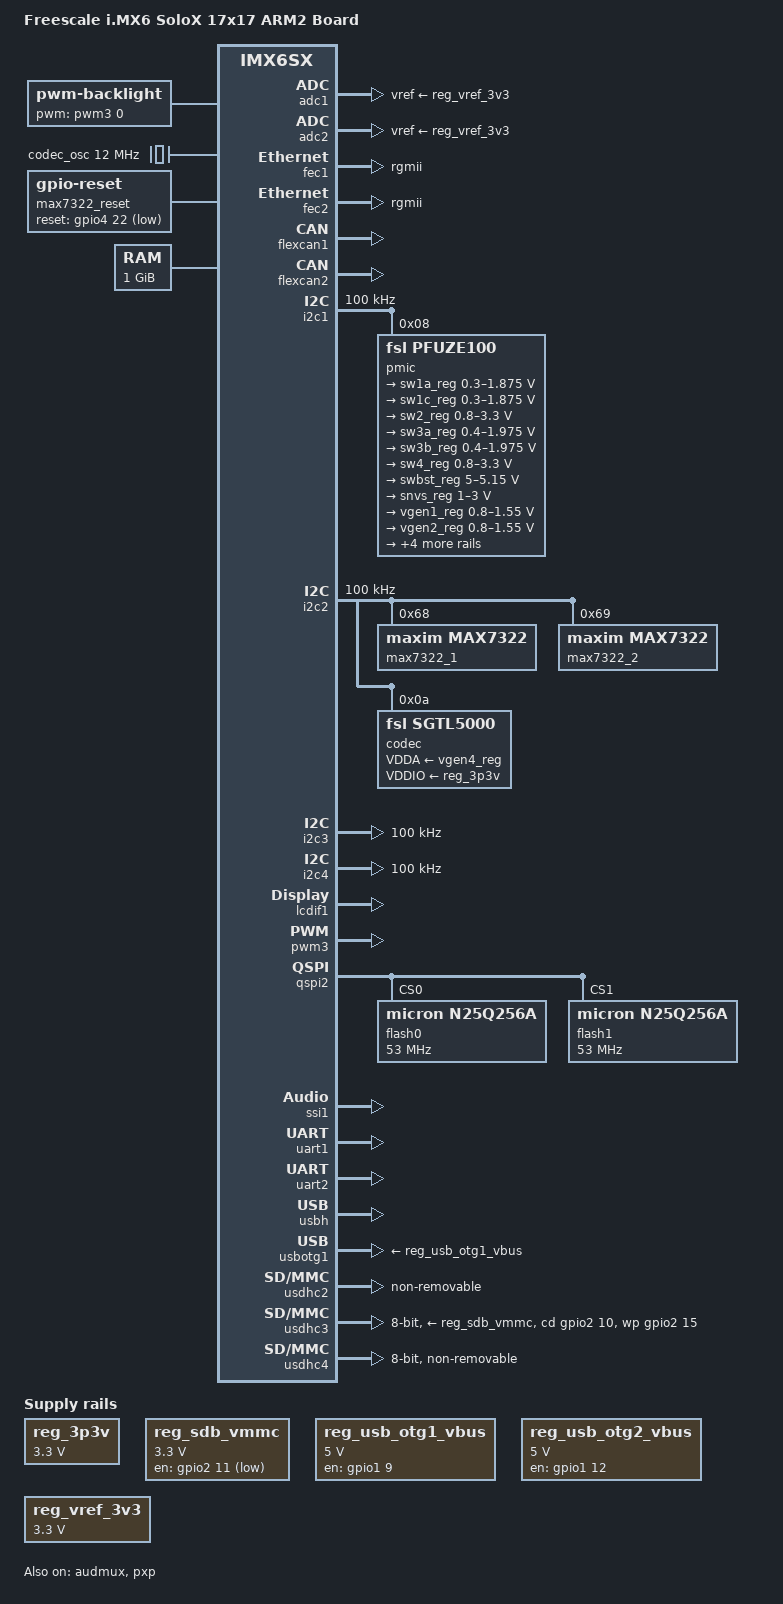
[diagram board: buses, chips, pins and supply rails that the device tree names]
/*
 * Copyright (C) 2014 Freescale Semiconductor, Inc.
 *
 * This program is free software; you can redistribute it and/or modify
 * it under the terms of the GNU General Public License version 2 as
 * published by the Free Software Foundation.
 */

/dts-v1/;

#include "imx6sx.dtsi"

/ {
	model = "Freescale i.MX6 SoloX 17x17 ARM2 Board";
	compatible = "fsl,imx6sx-17x17-arm2", "fsl,imx6sx";

	backlight {
		compatible = "pwm-backlight";
		pwms = <&pwm3 0 5000000>;
		brightness-levels = <0 4 8 16 32 64 128 255>;
		default-brightness-level = <6>;
	};

	clocks {
	        codec_osc: codec_osc {
		        #clock-cells = <0>;
		        compatible = "fixed-clock";
		        clock-frequency = <12000000>;
		};
	};

	max7322_reset: max7322-reset {
		compatible = "gpio-reset";
		reset-gpios = <&gpio4 22 GPIO_ACTIVE_LOW>;
		reset-delay-us = <1>;
		#reset-cells = <0>;
	};

	pxp_v4l2_out {
		compatible = "fsl,imx6sx-pxp-v4l2", "fsl,imx6sl-pxp-v4l2";
		status = "okay";
	};

	regulators {
		compatible = "simple-bus";

		reg_3p3v: 3p3v {
			compatible = "regulator-fixed";
			regulator-name = "3P3V";
			regulator-min-microvolt = <3300000>;
			regulator-max-microvolt = <3300000>;
			regulator-always-on;
		};

		reg_sdb_vmmc: sdb_vmmc{
			compatible = "regulator-fixed";
			regulator-name = "SD2_SPWR";
			regulator-min-microvolt = <3300000>;
			regulator-max-microvolt = <3300000>;
			gpio = <&gpio2 11 GPIO_ACTIVE_LOW>;
		};

		reg_usb_otg1_vbus: usb_otg1_vbus {
			compatible = "regulator-fixed";
			regulator-name = "usb_otg1_vbus";
			regulator-min-microvolt = <5000000>;
			regulator-max-microvolt = <5000000>;
			gpio = <&gpio1 9 0>;
			enable-active-high;
		};

		reg_usb_otg2_vbus: usb_otg2_vbus {
			compatible = "regulator-fixed";
			regulator-name = "usb_otg2_vbus";
			regulator-min-microvolt = <5000000>;
			regulator-max-microvolt = <5000000>;
			gpio = <&gpio1 12 0>;
			enable-active-high;
		};

		reg_vref_3v3: regulator@0 {
			compatible = "regulator-fixed";
			regulator-name = "vref-3v3";
			regulator-min-microvolt = <3300000>;
			regulator-max-microvolt = <3300000>;
		};
	};

	memory {
		reg = <0x80000000 0x40000000>;
	};

	sound {
		compatible = "fsl,imx6sx-arm2-sgtl5000",
			   "fsl,imx-audio-sgtl5000";
		model = "imx6sx-arm2-sgtl5000";
		cpu-dai = <&ssi1>;
		audio-codec = <&codec>;
		audio-routing =
			"LINE_IN", "Line In Jack",
			"Headphone Jack", "HP_OUT";
		mux-int-port = <1>;
		mux-ext-port = <4>;
	};
};

&adc1 {
	vref-supply = <&reg_vref_3v3>;
	status = "okay";
};

&adc2 {
	vref-supply = <&reg_vref_3v3>;
	status = "okay";
};

&audmux {
       pinctrl-names = "default";
       pinctrl-0 = <&pinctrl_audmux_2>;
       status = "okay";
};

&ecspi4 {
	fsl,spi-num-chipselects = <1>;
	cs-gpios = <&gpio7 4 0>;
	pinctrl-names = "default";
	pinctrl-0 = <&pinctrl_ecspi4_1 &pinctrl_ecspi4_cs_1>;
	status = "disabled"; /* pin conflict with USDHC3 */

	flash: m25p80@0 {
		#address-cells = <1>;
		#size-cells = <1>;
		compatible = "st,m25p32";
		spi-max-frequency = <20000000>;
		reg = <0>;
	};
};

&fec1 {
	pinctrl-names = "default";
	pinctrl-0 = <&pinctrl_enet1_1>;
	phy-mode = "rgmii";
	phy-id = <1>;
	fsl,num_tx_queues=<3>;
	fsl,num_rx_queues=<3>;
	pinctrl-assert-gpios = <&max7322_1 0 GPIO_ACTIVE_HIGH>;
	status = "okay";
};

&fec2 {
	pinctrl-names = "default";
	pinctrl-0 = <&pinctrl_enet2_1>;
	phy-mode = "rgmii";
	phy-id = <0>;
	fsl,num_tx_queues=<3>;
	fsl,num_rx_queues=<3>;
	pinctrl-assert-gpios = <&max7322_2 0 GPIO_ACTIVE_HIGH>;
	status = "okay";
};

&flexcan1 {
	pinctrl-names = "default";
	pinctrl-0 = <&pinctrl_flexcan1_1>;
	trx-en-gpio = <&gpio4 25 GPIO_ACTIVE_HIGH>;
	trx-stby-gpio = <&gpio4 27 GPIO_ACTIVE_HIGH>;
	trx-err-gpio = <&gpio4 24 GPIO_ACTIVE_HIGH>;
	status = "okay";
};

&flexcan2 {
	pinctrl-names = "default";
	pinctrl-0 = <&pinctrl_flexcan2_1>;
	trx-en-gpio = <&gpio4 25 GPIO_ACTIVE_HIGH>;
	trx-stby-gpio = <&gpio4 27 GPIO_ACTIVE_HIGH>;
	trx-err-gpio = <&gpio4 30 GPIO_ACTIVE_HIGH>;
	status = "okay";
};

&gpc {
	fsl,cpu_pupscr_sw2iso = <0xf>;
	fsl,cpu_pupscr_sw = <0xf>;
	fsl,cpu_pdnscr_iso2sw = <0x1>;
	fsl,cpu_pdnscr_iso = <0x1>;
	fsl,wdog-reset = <1>; /* watchdog select of reset source */
};

&gpmi {
	pinctrl-names = "default";
	pinctrl-0 = <&pinctrl_gpmi_nand_1>;
	status = "disabled"; /* pin conflict with qspi*/
};

&i2c1 {
        clock-frequency = <100000>;
        pinctrl-names = "default";
        pinctrl-0 = <&pinctrl_i2c1_1>;
        status = "okay";

	pmic: pfuze100@08 {
		compatible = "fsl,pfuze100";
		reg = <0x08>;

		regulators {
			sw1a_reg: sw1ab {
				regulator-min-microvolt = <300000>;
				regulator-max-microvolt = <1875000>;
				regulator-boot-on;
				regulator-always-on;
				regulator-ramp-delay = <6250>;
			};

			sw1c_reg: sw1c {
				regulator-min-microvolt = <300000>;
				regulator-max-microvolt = <1875000>;
				regulator-boot-on;
				regulator-always-on;
				regulator-ramp-delay = <6250>;
			};

			sw2_reg: sw2 {
				regulator-min-microvolt = <800000>;
				regulator-max-microvolt = <3300000>;
				regulator-boot-on;
				regulator-always-on;
			};

			sw3a_reg: sw3a {
				regulator-min-microvolt = <400000>;
				regulator-max-microvolt = <1975000>;
				regulator-boot-on;
				regulator-always-on;
			};

			sw3b_reg: sw3b {
				regulator-min-microvolt = <400000>;
				regulator-max-microvolt = <1975000>;
				regulator-boot-on;
				regulator-always-on;
			};

			sw4_reg: sw4 {
				regulator-min-microvolt = <800000>;
				regulator-max-microvolt = <3300000>;
			};

			swbst_reg: swbst {
				regulator-min-microvolt = <5000000>;
				regulator-max-microvolt = <5150000>;
			};

			snvs_reg: vsnvs {
				regulator-min-microvolt = <1000000>;
				regulator-max-microvolt = <3000000>;
				regulator-boot-on;
				regulator-always-on;
			};

			vref_reg: vrefddr {
				regulator-boot-on;
				regulator-always-on;
			};

			vgen1_reg: vgen1 {
				regulator-min-microvolt = <800000>;
				regulator-max-microvolt = <1550000>;
			};

			vgen2_reg: vgen2 {
				regulator-min-microvolt = <800000>;
				regulator-max-microvolt = <1550000>;
			};

			vgen3_reg: vgen3 {
				regulator-min-microvolt = <1800000>;
				regulator-max-microvolt = <3300000>;
				regulator-always-on;
			};

			vgen4_reg: vgen4 {
				regulator-min-microvolt = <1800000>;
				regulator-max-microvolt = <3300000>;
				regulator-always-on;
			};

			vgen5_reg: vgen5 {
				regulator-min-microvolt = <1800000>;
				regulator-max-microvolt = <3300000>;
				regulator-always-on;
			};

			vgen6_reg: vgen6 {
				regulator-min-microvolt = <1800000>;
				regulator-max-microvolt = <3300000>;
				regulator-always-on;
			};
		};
	};
};

&i2c2 {
        clock-frequency = <100000>;
        pinctrl-names = "default";
        pinctrl-0 = <&pinctrl_i2c2_1>;
        status = "okay";

	max7322_1: gpio@68 {
		compatible = "maxim,max7322";
		reg = <0x68>;
		gpio-controller;
		#gpio-cells = <2>;
		resets = <&max7322_reset>;
	};

	max7322_2: gpio@69 {
		compatible = "maxim,max7322";
		reg = <0x69>;
		gpio-controller;
		#gpio-cells = <2>;
		resets = <&max7322_reset>;
	};

	codec: sgtl5000@0a {
		compatible = "fsl,sgtl5000";
		reg = <0x0a>;
		clocks = <&codec_osc>;
		VDDA-supply = <&vgen4_reg>;
		VDDIO-supply = <&reg_3p3v>;
	};
};


&i2c3 {
        clock-frequency = <100000>;
        pinctrl-names = "default";
        pinctrl-0 = <&pinctrl_i2c3_1>;
        status = "okay";
};

&i2c4 {
        clock-frequency = <100000>;
        pinctrl-names = "default";
        pinctrl-0 = <&pinctrl_i2c4_1>;
        status = "okay";
};

&iomuxc {
	pinctrl-names = "default";
	pinctrl-0 = <&pinctrl_hog_1>;

	hog {
		pinctrl_hog_1: hoggrp-1 {
			fsl,pins = <
				MX6SX_PAD_KEY_COL0__GPIO2_IO_10		0x1f059
				MX6SX_PAD_KEY_ROW0__GPIO2_IO_15		0x1f059
				MX6SX_PAD_QSPI1A_SS0_B__GPIO4_IO_22     0x80000000
				/* CAN1_2_EN */
				MX6SX_PAD_QSPI1B_DATA1__GPIO4_IO_25     0x17059
				/* CAN1_2_STBY_B */
				MX6SX_PAD_QSPI1B_DATA3__GPIO4_IO_27     0x17059
				/* CAN1_ERR_B */
				MX6SX_PAD_QSPI1B_DATA0__GPIO4_IO_24	0x17059
				/* CAN2_ERR_B */
				MX6SX_PAD_QSPI1B_SS0_B__GPIO4_IO_30     0x17059
				/* SD2_PWROFF */
				MX6SX_PAD_KEY_COL1__GPIO2_IO_11		0x17059
			>;
		};
	};
};

&lcdif1 {
	pinctrl-names = "default";
	pinctrl-0 = <&pinctrl_lcdif_dat_0
		     &pinctrl_lcdif_ctrl_0>;
	display = <&display>;
	status = "okay";

	display: display {
		bits-per-pixel = <16>;
		bus-width = <24>;

		display-timings {
			native-mode = <&timing0>;
			timing0: timing0 {
				clock-frequency = <33500000>;
				hactive = <800>;
				vactive = <480>;
				hback-porch = <89>;
				hfront-porch = <164>;
				vback-porch = <23>;
				vfront-porch = <10>;
				hsync-len = <10>;
				vsync-len = <10>;
				hsync-active = <0>;
				vsync-active = <0>;
				de-active = <1>;
				pixelclk-active = <0>;
			};
		};
	};
};

&mlb {
	pinctrl-names = "default";
	pinctrl-0 = <&pinctrl_mlb_1>;
	status = "disabled";/* pin conflict with usdhc2*/
};

&pwm3 {
	pinctrl-names = "default";
	pinctrl-0 = <&pinctrl_pwm3_0>;
	status = "okay";
};

&pxp {
	status = "okay";
};

&qspi2 {
	pinctrl-names = "default";
	pinctrl-0 = <&pinctrl_qspi2_1>;
	status = "okay";

	flash0: n25q256a@0 {
		#address-cells = <1>;
		#size-cells = <1>;
		compatible = "micron,n25q256a";
		spi-max-frequency = <53000000>;
		reg = <0>;
	};

	flash1: n25q256a@1 {
		#address-cells = <1>;
		#size-cells = <1>;
		compatible = "micron,n25q256a";
		spi-max-frequency = <53000000>;
		reg = <1>;
	};
};

&ssi1 {
	fsl,mode = "i2s-slave";
	status = "okay";
};

&uart1 {
	pinctrl-names = "default";
	pinctrl-0 = <&pinctrl_uart1_1>;
	status = "okay";
};

&uart2 {
	pinctrl-names = "default";
	pinctrl-0 = <&pinctrl_uart2_1>;
	status = "okay";
};

&usbh {
	pinctrl-names = "idle", "active";
	pinctrl-0 = <&pinctrl_usbh_1>;
	pinctrl-1 = <&pinctrl_usbh_2>;
	osc-clkgate-delay = <0x3>;
	pad-supply = <&vgen1_reg>;
	status = "okay";
};

&usbotg1 {
	vbus-supply = <&reg_usb_otg1_vbus>;
	pinctrl-names = "default";
	pinctrl-0 = <&pinctrl_usbotg1_1>;
	disable-over-current;
	status = "okay";
};

&usbotg2 {
	/*
	 * Pin conflict with others, need to switch R580 & R579
	 * to B and disable pwm3 to enable it.
	 */
	vbus-supply = <&reg_usb_otg2_vbus>;
	disable-over-current;
	pinctrl-names = "default";
	pinctrl-0 = <&pinctrl_usbotg2_1>;
	status = "disabled";
};

&usdhc2 {
	pinctrl-names = "default";
	pinctrl-0 = <&pinctrl_usdhc2_1>;
	non-removable;
	/* need hw rework to enable signal voltage switch */
	no-1-8-v;
	keep-power-in-suspend;
	enable-sdio-wakeup;
	status = "okay";
};

&usdhc3 {
	pinctrl-names = "default", "state_100mhz", "state_200mhz";
	pinctrl-0 = <&pinctrl_usdhc3_1>;
	pinctrl-1 = <&pinctrl_usdhc3_1_100mhz>;
	pinctrl-2 = <&pinctrl_usdhc3_1_200mhz>;
	bus-width = <8>;
	cd-gpios = <&gpio2 10 0>;
	wp-gpios = <&gpio2 15 0>;
	keep-power-in-suspend;
	enable-sdio-wakeup;
	vmmc-supply = <&reg_sdb_vmmc>;
	status = "okay";
};

&usdhc4 {
	pinctrl-names = "default";
	pinctrl-0 = <&pinctrl_usdhc4_1>;
	bus-width = <8>;
	non-removable;
	/* need hw rework to enable signal voltage switch */
	no-1-8-v;
	status = "okay";
};
